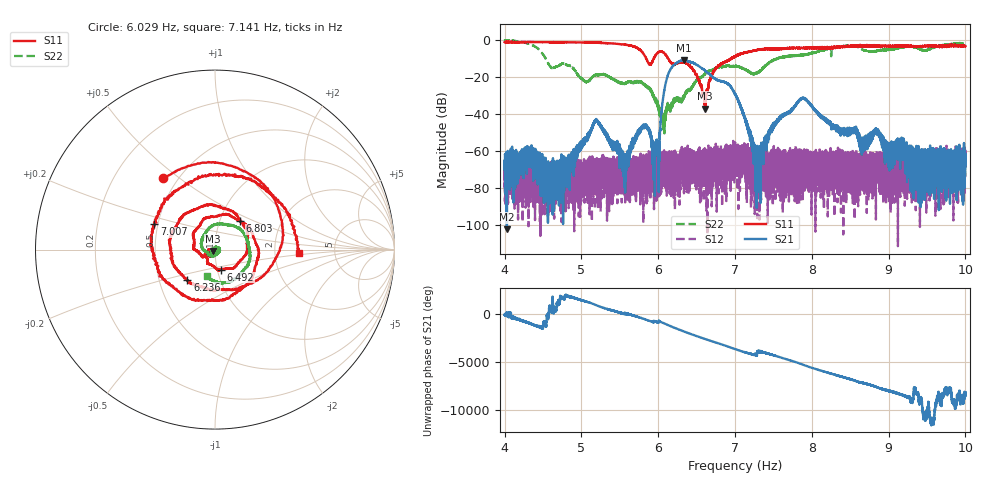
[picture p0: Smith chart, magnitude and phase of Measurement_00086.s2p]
!Created with skrf (http://scikit-rf.org).
# Hz S RI R 50.0
!freq ReS11 ImS11 ReS21 ImS21 ReS12 ImS12 ReS22 ImS22
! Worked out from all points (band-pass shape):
!   14001 points, 4 Hz to 10 Hz, reference 50 ohm
!   highest |S21| = -10.79 dB at 6.338 Hz (marker M1); lowest = -102.5 dB at 4.03 Hz (marker M2)
!   |S21| within 3 dB of the highest: 6.196804 Hz to 6.197152 Hz (347.9 uHz wide, 0.00561 % of centre); 6.197 Hz to 6.52 Hz (322.9 mHz wide, 5.08 % of centre)
!   lowest |S11| = -37.0 dB at 6.612 Hz (marker M3), VSWR 1.03, Z = 48.8 - j0.689 ohm
!   |S11| at or under -10 dB: 5.845 Hz to 5.942 Hz (97.22 mHz wide, 1.65 % of centre); 6.13 Hz to 6.955 Hz (824.7 mHz wide, 12.6 % of centre); 6.956215 Hz to 6.956545 Hz (330.2 uHz wide, 0.00475 % of centre)
!   |S22| runs from -50.5 to -0.2 dB; largest |S21 - S12| = 0.29
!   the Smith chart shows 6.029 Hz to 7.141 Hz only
!   S11 on the Smith chart (normalised r, x): 6.029 Hz: 0.42, +0.44; 6.236 Hz: 0.70, -0.25; 6.492 Hz: 1.04, -0.24; 6.803 Hz: 1.24, +0.41; 7.007 Hz: 0.48, +0.16; 7.141 Hz: 2.74, -0.12
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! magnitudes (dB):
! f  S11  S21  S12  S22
! 4 Hz  -1.1  -67.5  -79.3  -0.2
! 4.03 Hz  -1.0  -102.5  -74.8  -0.3
! 4.705 Hz  -1.2  -73.1  -76.2  -13.9
! 5 Hz  -1.3  -56.0  -71.8  -20.7
! 5.195 Hz  -1.4  -43.1  -75.1  -19.0
! 5.565 Hz  -2.5  -80.1  -84.1  -23.5
! 5.807 Hz  -7.3  -47.0  -70.4  -23.9
! 6 Hz  -6.7  -68.7  -68.0  -35.2
! 6.029 Hz  -6.2  -45.2  -66.4  -40.2
! 6.105 Hz  -8.3  -21.9  -65.3  -38.1
! 6.236 Hz  -12.8  -12.6  -69.0  -31.7
! 6.338 Hz  -12.0  -10.8  -62.8  -30.6
! 6.492 Hz  -18.7  -13.1  -63.3  -22.2
! 6.612 Hz  -37.0  -16.6  -65.6  -18.2
! 6.803 Hz  -13.6  -22.0  -63.6  -14.6
! 7 Hz  -8.8  -29.2  -59.8  -14.0
! 7.007 Hz  -8.7  -29.8  -65.1  -14.1
! 7.141 Hz  -6.6  -44.0  -64.1  -16.2
! 7.302 Hz  -5.3  -63.3  -76.1  -17.5
! 8 Hz  -4.4  -35.7  -68.1  -6.9
! 9 Hz  -3.3  -59.5  -71.3  -5.1
! 10 Hz  -3.3  -64.3  -63.5  -3.1
